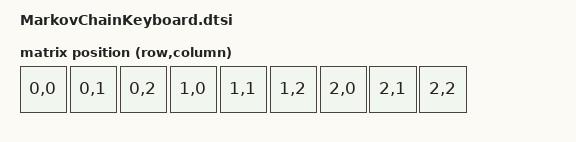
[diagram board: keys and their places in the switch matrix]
#include <dt-bindings/zmk/matrix_transform.h>
#include <dt-bindings/input/input-event-codes.h>
#include <dt-bindings/zmk/input_transform.h>
#include <input/processors.dtsi>
#include <physical_layouts.dtsi>

#define UPPER 1
#define MID 2
#define LOWER 3
#define TACT 4

&gpio0 {
    status = "okay";
};

/ {
    chosen {
        zmk,physical-layout = &MarkovChainKeyboard_physical_layout;
    };

    MarkovChainKeyboard_physical_layout: MarkovChainKeyboard_physical_layout {
        compatible = "zmk,physical-layout";
        display-name = "Default";
        transform = <&default_transform>;
        kscan = <&kscan0>;

        keys  //                     w   h    x  y     rot    rx    ry
            = <&key_physical_attrs 100 100  100  0       0     0     0>
            , <&key_physical_attrs 100 100  200  0       0     0     0>
            , <&key_physical_attrs 100 100  300  0       0     0     0>
            , <&key_physical_attrs 100 100  400  0       0     0     0>
            , <&key_physical_attrs 100 100  500  0       0     0     0>
            , <&key_physical_attrs 100 100  600  0       0     0     0>
            , <&key_physical_attrs 100 100  700  0       0     0     0>
            , <&key_physical_attrs 100 100  800  0       0     0     0>
            , <&key_physical_attrs 100 100  900  0       0     0     0>
            ;
    };

    default_transform: keymap_transform_0 {
        compatible = "zmk,matrix-transform";
        columns = <3>;
        rows = <3>;
        map = <
            RC(0,0) RC(0,1) RC(0,2)
            RC(1,0) RC(1,1) RC(1,2)
            RC(2,0) RC(2,1) RC(2,2)
        >;
    };

    kscan0: kscan {
        compatible = "zmk,kscan-gpio-matrix";
        label = "KSCAN";
        diode-direction = "col2row";
            row-gpios
                , <&xiao_d 6 (GPIO_ACTIVE_HIGH | GPIO_PULL_DOWN)>
                , <&xiao_d 8 (GPIO_ACTIVE_HIGH | GPIO_PULL_DOWN)>
                = <&xiao_d 9 (GPIO_ACTIVE_HIGH | GPIO_PULL_DOWN)>
                ;
    };

};

&xiao_i2c { status = "disabled"; };
&xiao_serial { status = "disabled"; };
